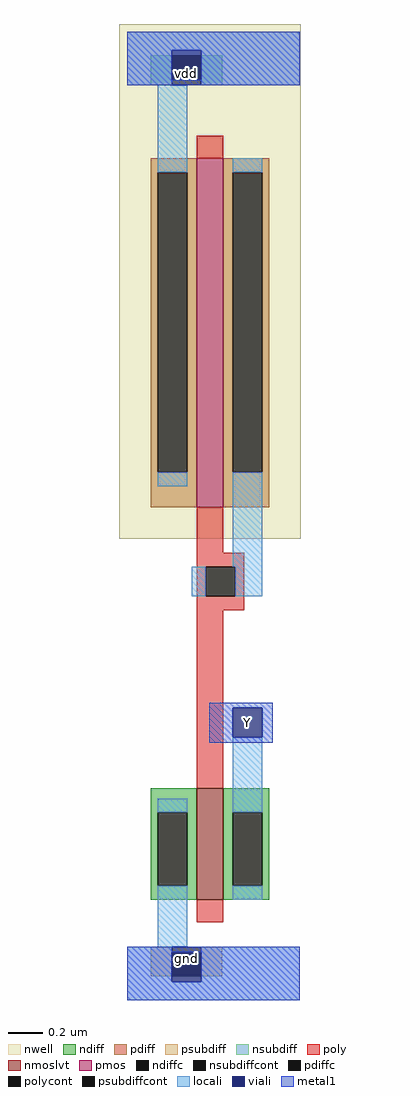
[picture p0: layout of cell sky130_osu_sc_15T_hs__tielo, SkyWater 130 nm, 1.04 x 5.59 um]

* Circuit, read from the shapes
.subckt sky130_osu_sc_15T_hs__tielo Y
XM1 Y n1 gnd gnd sky130_fd_pr__nfet_01v8_lvt w=0.64 l=0.15
XM2 n1 n1 vdd vdd sky130_fd_pr__pfet_01v8 w=2 l=0.15
.ends

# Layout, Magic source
magic
tech sky130A
magscale 1 2
<< nwell >>
rect -9 529 199 1119
<< nmoslvt >>
rect 80 115 110 243
<< pmos >>
rect 80 565 110 965
<< ndiff >>
rect 27 215 80 243
rect 27 131 35 215
rect 69 131 80 215
rect 27 115 80 131
rect 110 215 163 243
rect 110 131 121 215
rect 155 131 163 215
rect 110 115 163 131
<< pdiff >>
rect 27 949 80 965
rect 27 605 35 949
rect 69 605 80 949
rect 27 565 80 605
rect 110 949 163 965
rect 110 605 121 949
rect 155 605 163 949
rect 110 565 163 605
<< ndiffc >>
rect 35 131 69 215
rect 121 131 155 215
<< pdiffc >>
rect 35 605 69 949
rect 121 605 155 949
<< psubdiff >>
rect 27 27 51 61
rect 85 27 109 61
<< nsubdiff >>
rect 27 1049 51 1083
rect 85 1049 109 1083
<< psubdiffcont >>
rect 51 27 85 61
<< nsubdiffcont >>
rect 51 1049 85 1083
<< poly >>
rect 80 965 110 991
rect 80 513 110 565
rect 80 497 134 513
rect 80 463 90 497
rect 124 463 134 497
rect 80 447 134 463
rect 80 243 110 447
rect 80 89 110 115
<< polycont >>
rect 90 463 124 497
<< locali >>
rect 0 1089 198 1110
rect 0 1049 51 1089
rect 85 1049 198 1089
rect 35 949 69 1049
rect 35 589 69 605
rect 121 949 155 965
rect 121 497 155 605
rect 74 463 90 497
rect 124 463 155 497
rect 35 215 69 231
rect 35 61 69 131
rect 121 215 155 301
rect 121 115 155 131
rect 0 21 51 61
rect 85 21 198 61
rect 0 0 198 21
<< viali >>
rect 51 1083 85 1089
rect 51 1055 85 1083
rect 121 301 155 335
rect 51 27 85 55
rect 51 21 85 27
<< metal1 >>
rect 0 1089 198 1110
rect 0 1055 51 1089
rect 85 1055 198 1089
rect 0 1049 198 1055
rect 94 335 167 341
rect 94 301 121 335
rect 155 301 167 335
rect 94 295 167 301
rect 0 55 198 61
rect 0 21 51 55
rect 85 21 198 55
rect 0 0 198 21
<< labels >>
rlabel viali 138 318 138 318 1 Y
port 1 n
rlabel viali 68 48 68 48 1 gnd
rlabel viali 68 1062 68 1062 1 vdd
<< end >>
